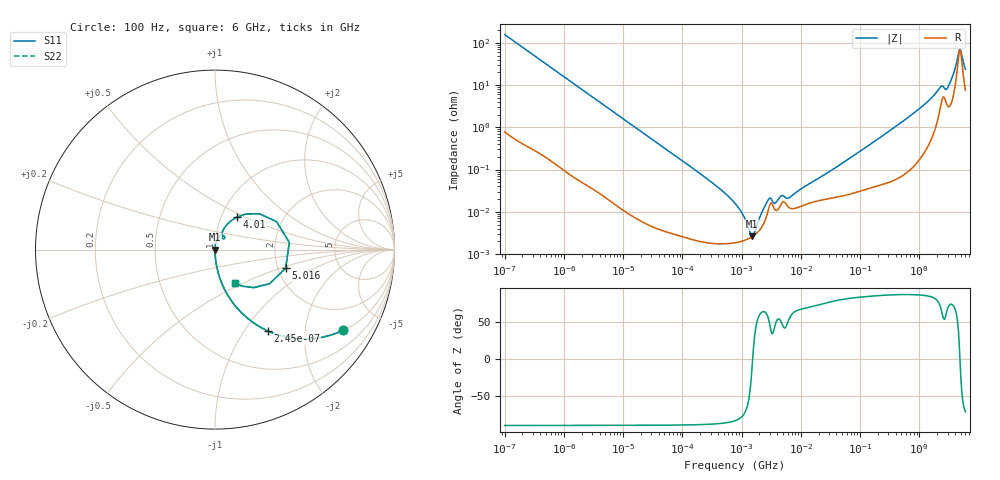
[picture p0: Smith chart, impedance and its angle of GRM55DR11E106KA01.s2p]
!Murata Part Number: GRM55DR11E106KA01
!These Parameters are Measured in Series Mode Connection
!Data Generated on Mar 30, 2021
!  o--ll--o
!Port1  Port2
!  o------o
!Operation Temp=25[degC], DC Bias Voltage=0[V]
!Freq. Start=100[Hz] Stop=6[GHz] 401[Steps]
# Hz S RI R 50
!Freq.(Hz) S11(Real) S11(Imag) S21(Real) S21(Imag) S12(Real) S12(Imag) S22(Real) S22(Imag)
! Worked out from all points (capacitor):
!   401 points, 100 Hz to 6 GHz, reference 50 ohm
!   read as one part in series: C = 10.1 uF near 109 Hz
!   lowest |Z| = 2.62 mohm at 1.516 MHz (marker M1)
!   series resonance near 1.539 MHz, so ESL is about 1.1 nH
!   S11 on the Smith chart (normalised r, x): 100 Hz: 1.02, -3.16; 245 Hz: 1.01, -1.29; 4.01 GHz: 1.18, +0.45; 5.016 GHz: 2.20, -0.55; 6 GHz: 1.15, -0.45
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100  0.7126 -0.4501  0.2874 0.4501  0.2874 0.4501  0.7126 -0.4501
245  0.2956 -0.4536  0.7044 0.4536  0.7044 0.4536  0.2956 -0.4536
573  0.0726 -0.2564  0.9274 0.2564  0.9274 0.2564  0.0726 -0.2564
2008  0.00676 -0.0788  0.9932 0.0788  0.9932 0.0788  0.00676 -0.0788
40335  5.44e-05 -0.004  0.9999 0.004  0.9999 0.004  5.44e-05 -0.004
774597  1.85e-05 -0.000159  1 0.000159  1 0.000159  1.85e-05 -0.000159
1013323  2.02e-05 -9.26e-05  1 9.26e-05  1 9.26e-05  2.02e-05 -9.26e-05
1516199  2.6e-05 -3.3e-06  1 3.3e-06  1 3.3e-06  2.6e-05 -3.3e-06
2169299  4.26e-05 8.28e-05  1 -8.28e-05  1 -8.28e-05  4.26e-05 8.28e-05
2967816  0.000141 0.000156  0.9999 -0.000156  0.9999 -0.000156  0.000141 0.000156
3712478  0.00011 0.000117  0.9999 -0.000117  0.9999 -0.000117  0.00011 0.000117
4856642  0.000167 0.000178  0.9998 -0.000178  0.9998 -0.000178  0.000167 0.000178
6353432  0.000126 0.000175  0.9999 -0.000175  0.9999 -0.000175  0.000126 0.000175
1.555665e7  0.000168 0.00048  0.9998 -0.00048  0.9998 -0.00048  0.000168 0.00048
3.124326e8  0.000568 0.00818  0.9994 -0.00818  0.9994 -0.00818  0.000568 0.00818
1.144649e9  0.00324 0.032  0.9968 -0.032  0.9968 -0.032  0.00324 0.032
2.240541e9  0.0324 0.0781  0.9676 -0.0781  0.9676 -0.0781  0.0324 0.0781
2.931063e9  0.0379 0.0694  0.9621 -0.0694  0.9621 -0.0694  0.0379 0.0694
4.009986e9  0.1213 0.181  0.8787 -0.181  0.8787 -0.181  0.1213 0.181
4.385646e9  0.2472 0.1997  0.7528 -0.1997  0.7528 -0.1997  0.2472 0.1997
5.016141e9  0.3936 -0.1034  0.6064 0.1034  0.6064 0.1034  0.3936 -0.1034
6e9  0.109 -0.1858  0.891 0.1858  0.891 0.1858  0.109 -0.1858
